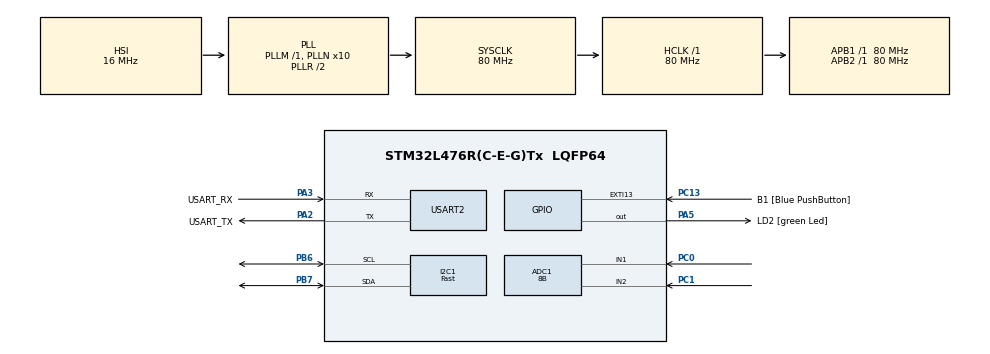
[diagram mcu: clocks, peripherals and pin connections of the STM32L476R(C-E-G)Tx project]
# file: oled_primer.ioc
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ADC1.Channel-1\#ChannelRegularConversion=ADC_CHANNEL_1
ADC1.NbrOfConversionFlag=1
ADC1.OffsetNumber-1\#ChannelRegularConversion=ADC_OFFSET_NONE
ADC1.Rank-1\#ChannelRegularConversion=1
ADC1.Resolution=ADC_RESOLUTION_8B
ADC1.SamplingTime-1\#ChannelRegularConversion=ADC_SAMPLETIME_2CYCLES_5
ADC1.master=1
Dma.ADC1.0.Direction=DMA_PERIPH_TO_MEMORY
Dma.ADC1.0.Instance=DMA1_Channel1
Dma.ADC1.0.MemDataAlignment=DMA_MDATAALIGN_HALFWORD
Dma.ADC1.0.MemInc=DMA_MINC_ENABLE
Dma.ADC1.0.Mode=DMA_NORMAL
Dma.ADC1.0.PeriphDataAlignment=DMA_PDATAALIGN_HALFWORD
Dma.ADC1.0.PeriphInc=DMA_PINC_DISABLE
Dma.ADC1.0.Priority=DMA_PRIORITY_LOW
Dma.Request0=ADC1
FREERTOS.BinarySemaphores01=intrSem,Dynamic,NULL
FREERTOS.Queues01=intrQueue,16,uint32_t,0,Dynamic,NULL,NULL
FREERTOS.Tasks01=displayTask,24,128,StartDisplayTask,Default,NULL,Dynamic,NULL,NULL;buttonTask,42,128,buttonTask_fun,Default,NULL,Dynamic,NULL,NULL;ADCTask,8,128,ADCTaskFun,Default,NULL,Dynamic,NULL,NULL
I2C1.I2C_Speed_Mode=I2C_Fast
I2C1.Timing=0x00702991
Mcu.Family=STM32L4
Mcu.Name=STM32L476R(C-E-G)Tx
Mcu.Package=LQFP64
NVIC.DMA1_Channel1_IRQn=true\:5\:0\:false\:false\:true\:true\:false\:true
NVIC.EXTI15_10_IRQn=true\:5\:0\:false\:false\:true\:true\:true\:true
NVIC.PriorityGroup=NVIC_PRIORITYGROUP_4
NVIC.TIM7_IRQn=true\:0\:0\:false\:false\:true\:false\:false\:true
NVIC.TimeBase=TIM7_IRQn
NVIC.TimeBaseIP=TIM7
PA13\ (JTMS-SWDIO).GPIO_Label=TMS
PA13\ (JTMS-SWDIO).Mode=Serial_Wire
PA13\ (JTMS-SWDIO).Signal=SYS_JTMS-SWDIO
PA14\ (JTCK-SWCLK).GPIO_Label=TCK
PA14\ (JTCK-SWCLK).Mode=Serial_Wire
PA14\ (JTCK-SWCLK).Signal=SYS_JTCK-SWCLK
PA2.GPIO_Label=USART_TX
PA2.GPIO_Mode=GPIO_MODE_AF_PP
PA2.GPIO_PuPd=GPIO_NOPULL
PA2.GPIO_Speed=GPIO_SPEED_FREQ_VERY_HIGH
PA2.Mode=Asynchronous
PA2.Signal=USART2_TX
PA3.GPIO_Label=USART_RX
PA3.GPIO_Mode=GPIO_MODE_AF_PP
PA3.GPIO_PuPd=GPIO_NOPULL
PA3.GPIO_Speed=GPIO_SPEED_FREQ_VERY_HIGH
PA3.Mode=Asynchronous
PA3.Signal=USART2_RX
PA5.GPIO_Label=LD2 [green Led]
PA5.GPIO_ModeDefaultOutputPP=GPIO_MODE_OUTPUT_PP
PA5.GPIO_PuPd=GPIO_NOPULL
PA5.GPIO_Speed=GPIO_SPEED_FREQ_LOW
PA5.Signal=GPIO_Output
PB3\ (JTDO-TRACESWO).GPIO_Label=SWO
PB3\ (JTDO-TRACESWO).Signal=SYS_JTDO-SWO
PB6.Mode=I2C
PB6.Signal=I2C1_SCL
PB7.Mode=I2C
PB7.Signal=I2C1_SDA
PC0.Signal=ADCx_IN1
PC1.Signal=ADCx_IN2
PC13.GPIO_Label=B1 [Blue PushButton]
PC13.GPIO_ModeDefaultEXTI=GPIO_MODE_IT_FALLING
PC13.GPIO_PuPd=GPIO_NOPULL
PC13.Signal=GPXTI13
PC14-OSC32_IN\ (PC14).Mode=LSE-External-Oscillator
PC14-OSC32_IN\ (PC14).Signal=RCC_OSC32_IN
PC15-OSC32_OUT\ (PC15).Mode=LSE-External-Oscillator
PC15-OSC32_OUT\ (PC15).Signal=RCC_OSC32_OUT
PH0-OSC_IN\ (PH0).Signal=RCC_OSC_IN
PH1-OSC_OUT\ (PH1).Signal=RCC_OSC_OUT
ProjectManager.HeapSize=0x200
ProjectManager.StackSize=0x400
ProjectManager.TargetToolchain=STM32CubeIDE
RCC.ADCFreq_Value=64000000
RCC.AHBFreq_Value=80000000
RCC.APB1Freq_Value=80000000
RCC.APB1TimFreq_Value=80000000
RCC.APB2Freq_Value=80000000
RCC.APB2TimFreq_Value=80000000
RCC.CortexFreq_Value=80000000
RCC.HCLKFreq_Value=80000000
RCC.HSE_VALUE=8000000
RCC.HSI_VALUE=16000000
RCC.MSI_VALUE=4000000
RCC.PLLN=10
RCC.PLLSourceVirtual=RCC_PLLSOURCE_HSI
RCC.PREFETCH_ENABLE=1
RCC.SYSCLKFreq_VALUE=80000000
RCC.SYSCLKSource=RCC_SYSCLKSOURCE_PLLCLK
RCC.USBFreq_Value=64000000
RCC.VCOOutputFreq_Value=160000000
SH.ADCx_IN1.0=ADC1_IN1,IN1-Single-Ended
SH.ADCx_IN2.0=ADC1_IN2,IN2-Single-Ended
USART2.VirtualMode-Asynchronous=VM_ASYNC
VP_FREERTOS_VS_CMSIS_V2.Mode=CMSIS_V2
VP_SYS_VS_tim7.Mode=TIM7
board=NUCLEO-L476RG

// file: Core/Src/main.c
/* USER CODE BEGIN Header */
/**
  ******************************************************************************
  * @file           : main.c
  * @brief          : Main program body
  ******************************************************************************
  * @attention
  *
  * <h2><center>&copy; Copyright (c) 2021 STMicroelectronics.
  * All rights reserved.</center></h2>
  *
  * This software component is licensed by ST under BSD 3-Clause license,
  * the "License"; You may not use this file except in compliance with the
  * License. You may obtain a copy of the License at:
  *                        opensource.org/licenses/BSD-3-Clause
  *
  ******************************************************************************
  */
/* USER CODE END Header */
#include "main.h"
#include "cmsis_os.h"

ADC_HandleTypeDef hadc1;
DMA_HandleTypeDef hdma_adc1;

I2C_HandleTypeDef hi2c1;

UART_HandleTypeDef huart2;

/* Definitions for displayTask */
osThreadId_t displayTaskHandle;
const osThreadAttr_t displayTask_attributes = {
  .name = "displayTask",
  .priority = (osPriority_t) osPriorityNormal,
  .stack_size = 128 * 4
};
/* Definitions for buttonTask */
osThreadId_t buttonTaskHandle;
const osThreadAttr_t buttonTask_attributes = {
  .name = "buttonTask",
  .priority = (osPriority_t) osPriorityHigh2,
  .stack_size = 128 * 4
};
/* Definitions for ADCTask */
osThreadId_t ADCTaskHandle;
const osThreadAttr_t ADCTask_attributes = {
  .name = "ADCTask",
  .priority = (osPriority_t) osPriorityLow,
  .stack_size = 128 * 4
};
/* Definitions for intrQueue */
osMessageQueueId_t intrQueueHandle;
const osMessageQueueAttr_t intrQueue_attributes = {
  .name = "intrQueue"
};
/* Definitions for intrSem */
osSemaphoreId_t intrSemHandle;
const osSemaphoreAttr_t intrSem_attributes = {
  .name = "intrSem"
};

void SystemClock_Config(void);
static void MX_GPIO_Init(void);
static void MX_DMA_Init(void);
static void MX_USART2_UART_Init(void);
static void MX_ADC1_Init(void);
static void MX_I2C1_Init(void);
void StartDisplayTask(void *argument);
void buttonTask_fun(void *argument);
void ADCTaskFun(void *argument);

/* USER CODE BEGIN 0 */
int _write(int file, char *ptr, int len)
{
  /* Implement your write code here, this is used by puts and printf for example */
  int i=0;
  for(i=0 ; i<len ; i++)
    ITM_SendChar((*ptr++));
  return len;
}

/* USER CODE END 0 */

int main(void)
{

  /* MCU Configuration--------------------------------------------------------*/

  /* Reset of all peripherals, Initializes the Flash interface and the Systick. */
  HAL_Init();

  /* Configure the system clock */
  SystemClock_Config();

  /* Initialize all configured peripherals */
  MX_GPIO_Init();
  MX_DMA_Init();
  MX_USART2_UART_Init();
  MX_ADC1_Init();
  MX_I2C1_Init();

  /* Init scheduler */
  osKernelInitialize();

  /* Create the semaphores(s) */
  /* creation of intrSem */
  intrSemHandle = osSemaphoreNew(1, 1, &intrSem_attributes);

  /* Create the queue(s) */
  /* creation of intrQueue */
  intrQueueHandle = osMessageQueueNew (16, sizeof(uint32_t), &intrQueue_attributes);

  /* Create the thread(s) */
  /* creation of displayTask */
  displayTaskHandle = osThreadNew(StartDisplayTask, NULL, &displayTask_attributes);

  /* creation of buttonTask */
  buttonTaskHandle = osThreadNew(buttonTask_fun, NULL, &buttonTask_attributes);

  /* creation of ADCTask */
  ADCTaskHandle = osThreadNew(ADCTaskFun, NULL, &ADCTask_attributes);

  /* Start scheduler */
  osKernelStart();

  /* We should never get here as control is now taken by the scheduler */
  /* Infinite loop */
  while (1)
  {

  }
}

void SystemClock_Config(void)
{
  RCC_OscInitTypeDef RCC_OscInitStruct = {0};
  RCC_ClkInitTypeDef RCC_ClkInitStruct = {0};
  RCC_PeriphCLKInitTypeDef PeriphClkInit = {0};

  /** Initializes the RCC Oscillators according to the specified parameters
  * in the RCC_OscInitTypeDef structure.
  */
  RCC_OscInitStruct.OscillatorType = RCC_OSCILLATORTYPE_HSI;
  RCC_OscInitStruct.HSIState = RCC_HSI_ON;
  RCC_OscInitStruct.HSICalibrationValue = RCC_HSICALIBRATION_DEFAULT;
  RCC_OscInitStruct.PLL.PLLState = RCC_PLL_ON;
  RCC_OscInitStruct.PLL.PLLSource = RCC_PLLSOURCE_HSI;
  RCC_OscInitStruct.PLL.PLLM = 1;
  RCC_OscInitStruct.PLL.PLLN = 10;
  RCC_OscInitStruct.PLL.PLLP = RCC_PLLP_DIV7;
  RCC_OscInitStruct.PLL.PLLQ = RCC_PLLQ_DIV2;
  RCC_OscInitStruct.PLL.PLLR = RCC_PLLR_DIV2;
  if (HAL_RCC_OscConfig(&RCC_OscInitStruct) != HAL_OK)
  {
    Error_Handler();
  }
  /** Initializes the CPU, AHB and APB buses clocks
  */
  RCC_ClkInitStruct.ClockType = RCC_CLOCKTYPE_HCLK|RCC_CLOCKTYPE_SYSCLK
                              |RCC_CLOCKTYPE_PCLK1|RCC_CLOCKTYPE_PCLK2;
  RCC_ClkInitStruct.SYSCLKSource = RCC_SYSCLKSOURCE_PLLCLK;
  RCC_ClkInitStruct.AHBCLKDivider = RCC_SYSCLK_DIV1;
  RCC_ClkInitStruct.APB1CLKDivider = RCC_HCLK_DIV1;
  RCC_ClkInitStruct.APB2CLKDivider = RCC_HCLK_DIV1;

  if (HAL_RCC_ClockConfig(&RCC_ClkInitStruct, FLASH_LATENCY_4) != HAL_OK)
  {
    Error_Handler();
  }
  PeriphClkInit.PeriphClockSelection = RCC_PERIPHCLK_USART2|RCC_PERIPHCLK_I2C1
                              |RCC_PERIPHCLK_ADC;
  PeriphClkInit.Usart2ClockSelection = RCC_USART2CLKSOURCE_PCLK1;
  PeriphClkInit.I2c1ClockSelection = RCC_I2C1CLKSOURCE_PCLK1;
  PeriphClkInit.AdcClockSelection = RCC_ADCCLKSOURCE_PLLSAI1;
  PeriphClkInit.PLLSAI1.PLLSAI1Source = RCC_PLLSOURCE_HSI;
  PeriphClkInit.PLLSAI1.PLLSAI1M = 1;
  PeriphClkInit.PLLSAI1.PLLSAI1N = 8;
  PeriphClkInit.PLLSAI1.PLLSAI1P = RCC_PLLP_DIV7;
  PeriphClkInit.PLLSAI1.PLLSAI1Q = RCC_PLLQ_DIV2;
  PeriphClkInit.PLLSAI1.PLLSAI1R = RCC_PLLR_DIV2;
  PeriphClkInit.PLLSAI1.PLLSAI1ClockOut = RCC_PLLSAI1_ADC1CLK;
  if (HAL_RCCEx_PeriphCLKConfig(&PeriphClkInit) != HAL_OK)
  {
    Error_Handler();
  }
  /** Configure the main internal regulator output voltage
  */
  if (HAL_PWREx_ControlVoltageScaling(PWR_REGULATOR_VOLTAGE_SCALE1) != HAL_OK)
  {
    Error_Handler();
  }
}

static void MX_ADC1_Init(void)
{

  ADC_MultiModeTypeDef multimode = {0};
  ADC_ChannelConfTypeDef sConfig = {0};

  /** Common config
  */
  hadc1.Instance = ADC1;
  hadc1.Init.ClockPrescaler = ADC_CLOCK_ASYNC_DIV1;
  hadc1.Init.Resolution = ADC_RESOLUTION_8B;
  hadc1.Init.DataAlign = ADC_DATAALIGN_RIGHT;
  hadc1.Init.ScanConvMode = ADC_SCAN_DISABLE;
  hadc1.Init.EOCSelection = ADC_EOC_SINGLE_CONV;
  hadc1.Init.LowPowerAutoWait = DISABLE;
  hadc1.Init.ContinuousConvMode = DISABLE;
  hadc1.Init.NbrOfConversion = 1;
  hadc1.Init.DiscontinuousConvMode = DISABLE;
  hadc1.Init.ExternalTrigConv = ADC_SOFTWARE_START;
  hadc1.Init.ExternalTrigConvEdge = ADC_EXTERNALTRIGCONVEDGE_NONE;
  hadc1.Init.DMAContinuousRequests = DISABLE;
  hadc1.Init.Overrun = ADC_OVR_DATA_PRESERVED;
  hadc1.Init.OversamplingMode = DISABLE;
  if (HAL_ADC_Init(&hadc1) != HAL_OK)
  {
    Error_Handler();
  }
  /** Configure the ADC multi-mode
  */
  multimode.Mode = ADC_MODE_INDEPENDENT;
  if (HAL_ADCEx_MultiModeConfigChannel(&hadc1, &multimode) != HAL_OK)
  {
    Error_Handler();
  }
  /** Configure Regular Channel
  */
  sConfig.Channel = ADC_CHANNEL_1;
  sConfig.Rank = ADC_REGULAR_RANK_1;
  sConfig.SamplingTime = ADC_SAMPLETIME_2CYCLES_5;
  sConfig.SingleDiff = ADC_SINGLE_ENDED;
  sConfig.OffsetNumber = ADC_OFFSET_NONE;
  sConfig.Offset = 0;
  if (HAL_ADC_ConfigChannel(&hadc1, &sConfig) != HAL_OK)
  {
    Error_Handler();
  }

}

static void MX_I2C1_Init(void)
{

  hi2c1.Instance = I2C1;
  hi2c1.Init.Timing = 0x00702991;
  hi2c1.Init.OwnAddress1 = 0;
  hi2c1.Init.AddressingMode = I2C_ADDRESSINGMODE_7BIT;
  hi2c1.Init.DualAddressMode = I2C_DUALADDRESS_DISABLE;
  hi2c1.Init.OwnAddress2 = 0;
  hi2c1.Init.OwnAddress2Masks = I2C_OA2_NOMASK;
  hi2c1.Init.GeneralCallMode = I2C_GENERALCALL_DISABLE;
  hi2c1.Init.NoStretchMode = I2C_NOSTRETCH_DISABLE;
  if (HAL_I2C_Init(&hi2c1) != HAL_OK)
  {
    Error_Handler();
  }
  /** Configure Analogue filter
  */
  if (HAL_I2CEx_ConfigAnalogFilter(&hi2c1, I2C_ANALOGFILTER_ENABLE) != HAL_OK)
  {
    Error_Handler();
  }
  /** Configure Digital filter
  */
  if (HAL_I2CEx_ConfigDigitalFilter(&hi2c1, 0) != HAL_OK)
  {
    Error_Handler();
  }

}

static void MX_USART2_UART_Init(void)
{

  huart2.Instance = USART2;
  huart2.Init.BaudRate = 115200;
  huart2.Init.WordLength = UART_WORDLENGTH_8B;
  huart2.Init.StopBits = UART_STOPBITS_1;
  huart2.Init.Parity = UART_PARITY_NONE;
  huart2.Init.Mode = UART_MODE_TX_RX;
  huart2.Init.HwFlowCtl = UART_HWCONTROL_NONE;
  huart2.Init.OverSampling = UART_OVERSAMPLING_16;
  huart2.Init.OneBitSampling = UART_ONE_BIT_SAMPLE_DISABLE;
  huart2.AdvancedInit.AdvFeatureInit = UART_ADVFEATURE_NO_INIT;
  if (HAL_UART_Init(&huart2) != HAL_OK)
  {
    Error_Handler();
  }

}

static void MX_DMA_Init(void)
{

  /* DMA controller clock enable */
  __HAL_RCC_DMA1_CLK_ENABLE();

  /* DMA interrupt init */
  /* DMA1_Channel1_IRQn interrupt configuration */
  HAL_NVIC_SetPriority(DMA1_Channel1_IRQn, 5, 0);
  HAL_NVIC_EnableIRQ(DMA1_Channel1_IRQn);

}

static void MX_GPIO_Init(void)
{
  GPIO_InitTypeDef GPIO_InitStruct = {0};

  /* GPIO Ports Clock Enable */
  __HAL_RCC_GPIOC_CLK_ENABLE();
  __HAL_RCC_GPIOH_CLK_ENABLE();
  __HAL_RCC_GPIOA_CLK_ENABLE();
  __HAL_RCC_GPIOB_CLK_ENABLE();

  /*Configure GPIO pin Output Level */
  HAL_GPIO_WritePin(LD2_GPIO_Port, LD2_Pin, GPIO_PIN_RESET);

  /*Configure GPIO pin : B1_Pin */
  GPIO_InitStruct.Pin = B1_Pin;
  GPIO_InitStruct.Mode = GPIO_MODE_IT_FALLING;
  GPIO_InitStruct.Pull = GPIO_NOPULL;
  HAL_GPIO_Init(B1_GPIO_Port, &GPIO_InitStruct);

  /*Configure GPIO pin : LD2_Pin */
  GPIO_InitStruct.Pin = LD2_Pin;
  GPIO_InitStruct.Mode = GPIO_MODE_OUTPUT_PP;
  GPIO_InitStruct.Pull = GPIO_NOPULL;
  GPIO_InitStruct.Speed = GPIO_SPEED_FREQ_LOW;
  HAL_GPIO_Init(LD2_GPIO_Port, &GPIO_InitStruct);

  /* EXTI interrupt init*/
  HAL_NVIC_SetPriority(EXTI15_10_IRQn, 5, 0);
  HAL_NVIC_EnableIRQ(EXTI15_10_IRQn);

}

void StartDisplayTask(void *argument)
{
  /* USER CODE BEGIN 5 */
	SSD1306_Init();
	SSD1306_Clear();
	SSD1306_GotoXY(10, 5);
	SSD1306_Puts("Na I2C", &Font_11x18, 1);
	SSD1306_GotoXY (10, 25);
	SSD1306_Puts ("Displej !", &Font_11x18, 1);

	char c_cnt = 'A';
	uint32_t rec_int = 0;
	char msg[20] = "Nista\n\0";
  /* Infinite loop */
  for(;;)
  {
	  printf("Task Display 11------->>>>>>>> usao \n");

	  c_cnt += 1;
	  if (c_cnt > 'z') {
		c_cnt = 'A';
	  }

	  SSD1306_GotoXY (10, 45);
	  SSD1306_Putc (c_cnt, &Font_11x18, 1);

	  if (osMessageQueueGetCount(intrQueueHandle)){
		  osMessageQueueGet(intrQueueHandle, &rec_int, 0, osWaitForever);
		  printf("Task 1111111 11 .......... primio poruku!\n");
		  SSD1306_GotoXY (25, 45);

		  sprintf(msg, "ADC:%3d", (int)rec_int);
		  SSD1306_Puts (msg, &Font_11x18, 1);
	  }

	  SSD1306_UpdateScreen(); // update screen

	  printf("<<<<<<<<<1111111111111 zavrsio task Displej\n");
	  osDelay(100);
  }
  /* USER CODE END 5 */
}

void buttonTask_fun(void *argument)
{
  /* USER CODE BEGIN buttonTask_fun */
  /* Infinite loop */
  for(;;)
  {
	  printf("Task Button 22------->>>>>>>> usao\n");

	  printf("Cekaj semafor\n");
	  osSemaphoreAcquire(intrSemHandle, 500000);

	  printf("Nastavi\n");
	  SSD1306_ToggleInvert();
	  SSD1306_UpdateScreen();

	  printf("<<<<<<<<<222222222222 zavrsio task Button\n");
	  osDelay(1000);
  }
  /* USER CODE END buttonTask_fun */
}

void ADCTaskFun(void *argument)
{
  /* USER CODE BEGIN ADCTaskFun */
  uint32_t ad_res = 0;
  /* Infinite loop */
  for(;;)
  {
	// Start ADC Conversion
	HAL_ADC_Start_DMA(&hadc1, &ad_res, 1);
	HAL_Delay(1);

	osMessageQueuePut(intrQueueHandle, &ad_res, 0, osWaitForever);
	printf("222222222222 .......... poslao poruku\n");

    osDelay(100);
  }
  /* USER CODE END ADCTaskFun */
}

 /**
  * @brief  Period elapsed callback in non blocking mode
  * @note   This function is called  when TIM7 interrupt took place, inside
  * HAL_TIM_IRQHandler(). It makes a direct call to HAL_IncTick() to increment
  * a global variable "uwTick" used as application time base.
  * @param  htim : TIM handle
  * @retval None
  */
void HAL_TIM_PeriodElapsedCallback(TIM_HandleTypeDef *htim)
{
  if (htim->Instance == TIM7) {
    HAL_IncTick();
  }
}

void Error_Handler(void)
{
  __disable_irq();
  while (1)
  {
  }
}

/************************ (C) COPYRIGHT STMicroelectronics *****END OF FILE****/
